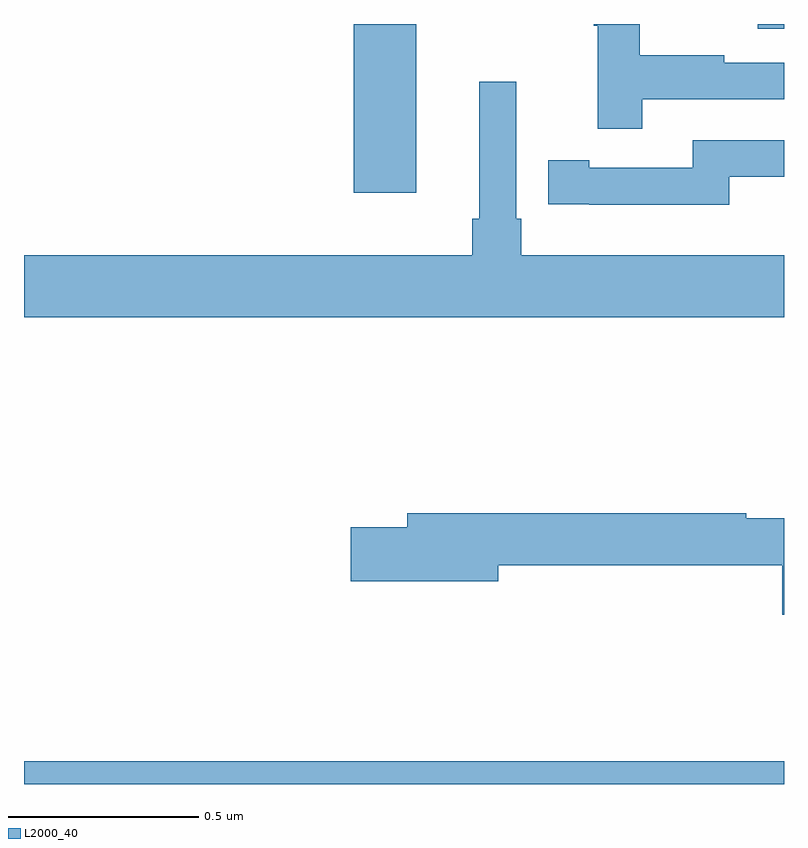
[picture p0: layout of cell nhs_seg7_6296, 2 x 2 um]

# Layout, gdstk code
import gdstk
lib = gdstk.Library(unit=1e-6, precision=1e-09)
def R(c, l, rs):  # rectangles x0, y0, x1, y1
    for r in rs: c.add(gdstk.rectangle(r[:2], r[2:], *l))
def P(c, l, *ps):  # polygons
    for p in ps: c.add(gdstk.Polygon(p, *l))
L2000_40 = (2000, 40)

nhs_seg7_6296 = lib.new_cell('nhs_seg7_6296')
R(nhs_seg7_6296, L2000_40, [(196,1054,198,1054.06), (196.868,1055.556,197.032,1056), (197.931,1055.987,198,1056)])
P(nhs_seg7_6296, L2000_40, [(197.627,1055.802),(198,1055.802),(198,1055.898),(197.843,1055.898),(197.843,1055.918),(197.62,1055.918),(197.62,1056),(197.499,1056),(197.499,1055.995),(197.51,1055.995),(197.51,1055.724),(197.627,1055.724)],
  [(198,1055.392),(197.309,1055.392),(197.309,1055.488),(197.295,1055.488),(197.295,1055.848),(197.198,1055.848),(197.198,1055.488),(197.179,1055.488),(197.179,1055.392),(196,1055.392),(196,1055.228),(198,1055.228)],
  [(197.856,1055.598),(198,1055.598),(198,1055.694),(197.76,1055.694),(197.76,1055.622),(197.488,1055.622),(197.488,1055.642),(197.38,1055.642),(197.38,1055.526),(197.488,1055.526),(197.488,1055.525),(197.856,1055.525)],
  [(198,1054.699),(197.9,1054.699),(197.9,1054.712),(197.009,1054.712),(197.009,1054.676),(196.86,1054.676),(196.86,1054.534),(197.248,1054.534),(197.248,1054.576),(197.996,1054.576),(197.996,1054.445),(198,1054.445)])

lib.write_gds('nhs_seg7_6296.gds')
